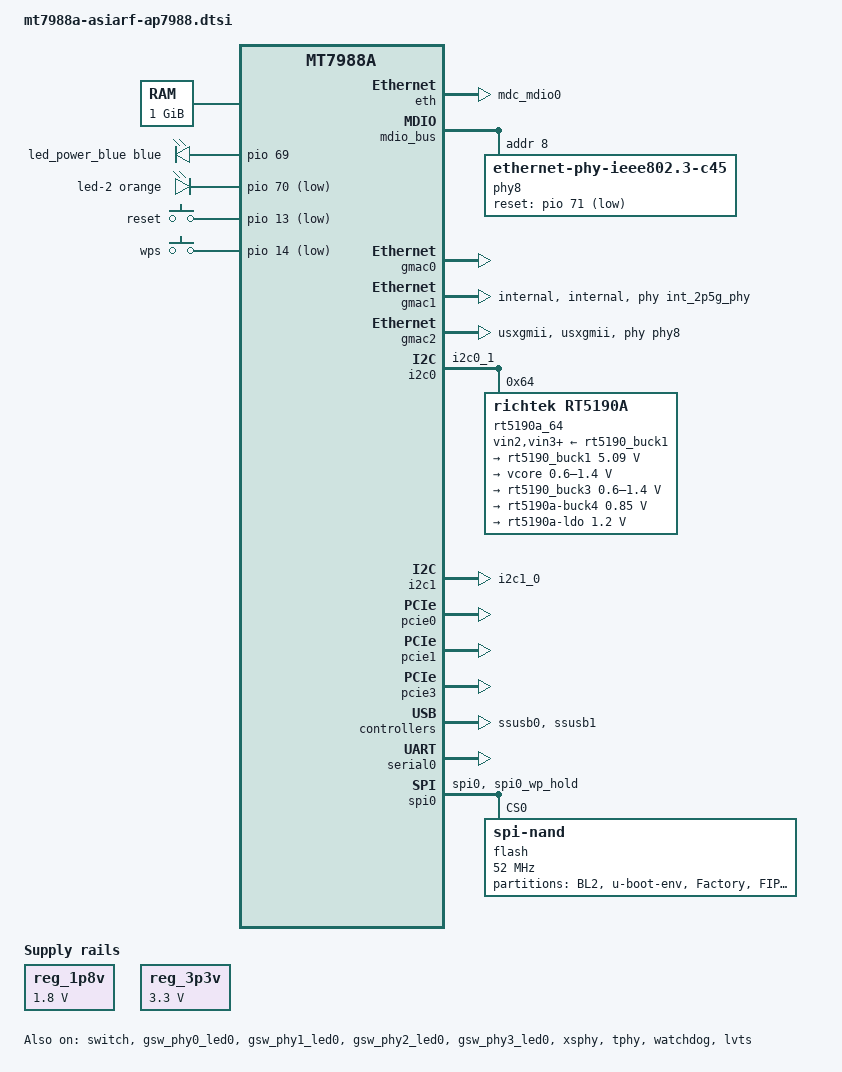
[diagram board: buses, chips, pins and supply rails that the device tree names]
// SPDX-License-Identifier: (GPL-2.0 OR MIT)
/*
 * Copyright (C) 2025 AsiaRF Co., Ltd.
 * Author: Elwin Huang <elwin@asiarf.com>
 */

/dts-v1/;
#include "mt7988a.dtsi"
#include <dt-bindings/pinctrl/mt65xx.h>
#include <dt-bindings/leds/common.h>
#include <dt-bindings/regulator/richtek,rt5190a-regulator.h>
#include <dt-bindings/input/input.h>
#include <dt-bindings/gpio/gpio.h>

/ {
	aliases {
		serial0 = &serial0;
		led-boot = &led_power_blue;
		led-failsafe = &led_power_blue;
		led-running = &led_power_blue;
		led-upgrade = &led_power_blue;
	};

	chosen {
		stdout-path = "serial0:115200n8";
		bootargs = "pci=pcie_bus_perf ubi.block=0,fit root=/dev/fit0 rootwait";
		rootdisk-spim-nand = <&ubi_rootfs>;
	};

	memory {
		reg = <0 0x40000000 0 0x40000000>;
	};

	reg_1p8v: regulator-1p8v {
		compatible = "regulator-fixed";
		regulator-name = "fixed-1.8V";
		regulator-min-microvolt = <1800000>;
		regulator-max-microvolt = <1800000>;
		regulator-boot-on;
		regulator-always-on;
	};

	reg_3p3v: regulator-3p3v {
		compatible = "regulator-fixed";
		regulator-name = "fixed-3.3V";
		regulator-min-microvolt = <3300000>;
		regulator-max-microvolt = <3300000>;
		regulator-boot-on;
		regulator-always-on;
	};

	gpio-leds {
		compatible = "gpio-leds";
		status = "okay";

		led_power_blue: led-1 {
			function = LED_FUNCTION_POWER;
			color = <LED_COLOR_ID_BLUE>;
			gpios = <&pio 69 GPIO_ACTIVE_HIGH>;
			linux,default-trigger = "default-on";
		};

		led-2 {
			function = LED_FUNCTION_STATUS;
			color = <LED_COLOR_ID_ORANGE>;
			gpios = <&pio 70 GPIO_ACTIVE_LOW>;
			linux,default-trigger = "default-on";
		};
	};

	keys {
		compatible = "gpio-keys";

		reset {
			label = "reset";
			linux,code = <KEY_RESTART>;
			gpios = <&pio 13 GPIO_ACTIVE_LOW>;
		};

		wps {
			label = "wps";
			linux,code = <KEY_WPS_BUTTON>;
			gpios = <&pio 14 GPIO_ACTIVE_LOW>;
		};
	};
};

&cpu0 {
	proc-supply = <&rt5190_buck3>;
};

&cpu1 {
	proc-supply = <&rt5190_buck3>;
};

&cpu2 {
	proc-supply = <&rt5190_buck3>;
};

&cpu3 {
	proc-supply = <&rt5190_buck3>;
};

&cci {
	proc-supply = <&rt5190_buck3>;
};

&eth {
	pinctrl-0 = <&mdio0_pins>;
	pinctrl-names = "default";
	status = "okay";
};

&mdio_bus {
	#address-cells = <1>;
	#size-cells = <0>;
	clock-frequency = <10500000>;

	/* Aquantia AQR113C */
	phy8: ethernet-phy@8 {
		reg = <8>;
		compatible = "ethernet-phy-ieee802.3-c45";
		reset-gpios = <&pio 71 GPIO_ACTIVE_LOW>;
		reset-assert-us = <100000>;
		reset-deassert-us = <221000>;
		nvmem-cell-names = "firmware";
		nvmem-cells = <&firmware_factory_200000>;
	};
};

&int_2p5g_phy {
	pinctrl-names = "i2p5gbe-led";
	pinctrl-0 = <&i2p5gbe_led0_pins>;
};

&gmac0 {
	status = "okay";
	nvmem-cell-names = "mac-address";
	nvmem-cells = <&macaddr_factory_ffff4>;
};

&gmac1 {
	phy-mode = "internal";
	phy-connection-type = "internal";
	phy-handle = <&int_2p5g_phy>;
	status = "okay";
	nvmem-cell-names = "mac-address";
	nvmem-cells = <&macaddr_factory_ffffa>;
};

&gmac2 {
	phy-mode = "usxgmii";
	phy-connection-type = "usxgmii";
	phy = <&phy8>;
	status = "okay";
	nvmem-cell-names = "mac-address";
	nvmem-cells = <&macaddr_factory_ffff4>;
};

&switch {
	status = "okay";

	ports {
		port@0 {
			label = "lan1";
		};

		port@1 {
			label = "lan2";
		};

		port@2 {
			label = "lan3";
		};

		port@3 {
			label = "lan4";
		};
	};
};

&gsw_phy0 {
	pinctrl-names = "gbe-led";
	pinctrl-0 = <&gbe0_led0_pins>;
};

&gsw_phy0_led0 {
	status = "okay";
	function = LED_FUNCTION_LAN;
	color = <LED_COLOR_ID_WHITE>;
};

&gsw_phy1 {
	pinctrl-names = "gbe-led";
	pinctrl-0 = <&gbe1_led0_pins>;
};

&gsw_phy1_led0 {
	status = "okay";
	function = LED_FUNCTION_LAN;
	color = <LED_COLOR_ID_WHITE>;
};

&gsw_phy2 {
	pinctrl-names = "gbe-led";
	pinctrl-0 = <&gbe2_led0_pins>;
};

&gsw_phy2_led0 {
	status = "okay";
	function = LED_FUNCTION_LAN;
	color = <LED_COLOR_ID_WHITE>;
};

&gsw_phy3 {
	pinctrl-names = "gbe-led";
	pinctrl-0 = <&gbe3_led0_pins>;
};

&gsw_phy3_led0 {
	status = "okay";
	function = LED_FUNCTION_LAN;
	color = <LED_COLOR_ID_WHITE>;
};

&i2c0 {
	pinctrl-names = "default";
	pinctrl-0 = <&i2c0_pins>;
	status = "okay";

	rt5190a_64: rt5190a@64 {
		compatible = "richtek,rt5190a";
		reg = <0x64>;
		/*interrupts-extended = <&gpio26 0 IRQ_TYPE_LEVEL_LOW>;*/
		vin2-supply = <&rt5190_buck1>;
		vin3-supply = <&rt5190_buck1>;
		vin4-supply = <&rt5190_buck1>;

		regulators {
			rt5190_buck1: buck1 {
				regulator-name = "rt5190a-buck1";
				regulator-min-microvolt = <5090000>;
				regulator-max-microvolt = <5090000>;
				regulator-allowed-modes =
				<RT5190A_OPMODE_AUTO RT5190A_OPMODE_FPWM>;
				regulator-boot-on;
				regulator-always-on;
			};
			buck2 {
				regulator-name = "vcore";
				regulator-min-microvolt = <600000>;
				regulator-max-microvolt = <1400000>;
				regulator-boot-on;
				regulator-always-on;
			};
			rt5190_buck3: buck3 {
				regulator-name = "vproc";
				regulator-min-microvolt = <600000>;
				regulator-max-microvolt = <1400000>;
				regulator-boot-on;
			};
			buck4 {
				regulator-name = "rt5190a-buck4";
				regulator-min-microvolt = <850000>;
				regulator-max-microvolt = <850000>;
				regulator-allowed-modes =
				<RT5190A_OPMODE_AUTO RT5190A_OPMODE_FPWM>;
				regulator-boot-on;
				regulator-always-on;
			};
			ldo {
				regulator-name = "rt5190a-ldo";
				regulator-min-microvolt = <1200000>;
				regulator-max-microvolt = <1200000>;
				regulator-boot-on;
				regulator-always-on;
			};
		};
	};
};

&i2c1 {
	pinctrl-names = "default";
	pinctrl-0 = <&i2c1_pins>;
	status = "okay";
};

&pcie0 {
	status = "okay";
};

&pcie1 {
	status = "okay";
};

&pcie3 {
	status = "okay";
};

&ssusb0 {
	status = "okay";
};

&ssusb1 {
	status = "okay";
};

&xsphy {
	status = "okay";
};

&tphy {
	status = "okay";
};

&serial0 {
	status = "okay";
};

&watchdog {
	status = "okay";
};

&lvts {
	status = "okay";
};

&spi0 {
	pinctrl-names = "default";
	pinctrl-0 = <&spi0_flash_pins>;
	status = "okay";

	flash@0 {
		compatible = "spi-nand";
		reg = <0>;
		spi-max-frequency = <52000000>;
		spi-tx-bus-width = <4>;
		spi-rx-bus-width = <4>;
		mediatek,nmbm;
		mediatek,bmt-max-ratio = <1>;
		mediatek,bmt-max-reserved-blocks = <64>;

		partitions {
			compatible = "fixed-partitions";
			#address-cells = <1>;
			#size-cells = <1>;

			partition@0 {
				label = "BL2";
				reg = <0x00000 0x0100000>;
				read-only;
			};

			partition@100000 {
				label = "u-boot-env";
				reg = <0x0100000 0x0080000>;
			};

			partition@180000 {
				label = "Factory";
				reg = <0x180000 0x0400000>;

				nvmem-layout {
					compatible = "fixed-layout";
					#address-cells = <1>;
					#size-cells = <1>;

					eeprom_factory_0: eeprom@0 {
						reg = <0x0 0x1e00>;
					};

					macaddr_factory_4: macaddr@4 {
						reg = <0x4 0x6>;
					};

					macaddr_factory_a: macaddr@a {
						reg = <0xa 0x6>;
					};

					macaddr_factory_2c0: macaddr@2c0 {
						reg = <0x2c0 0x6>;
					};

					macaddr_factory_ffff4: macaddr@ffff4 {
						reg = <0xffff4 0x6>;
					};

					macaddr_factory_ffffa: macaddr@ffffa {
						reg = <0xffffa 0x6>;
					};

					firmware_factory_200000: firmware@200000 {
						reg = <0x0200000 0x60002>;
					};
				};
			};

			partition@580000 {
				label = "FIP";
				reg = <0x580000 0x0200000>;
			};

			partition@780000 {
				label = "ubi";
				reg = <0x780000 0x7080000>;
				compatible = "linux,ubi";

				volumes {
					ubi_rootfs: ubi-volume-fit {
						volname = "fit";
					};
				};
			};
		};
	};
};

&pio {

	mdio0_pins: mdio0-pins {
		mux {
			function = "eth";
			groups = "mdc_mdio0";
		};

		conf {
			groups = "mdc_mdio0";
			drive-strength = <MTK_DRIVE_8mA>;
		};
	};

	gbe0_led0_pins: gbe0-led0-pins {
		mux {
			function = "led";
			groups = "gbe0_led0";
		};
	};

	gbe1_led0_pins: gbe1-led0-pins {
		mux {
			function = "led";
			groups = "gbe1_led0";
		};
	};

	gbe2_led0_pins: gbe2-led0-pins {
		mux {
			function = "led";
			groups = "gbe2_led0";
		};
	};

	gbe3_led0_pins: gbe3-led0-pins {
		mux {
			function = "led";
			groups = "gbe3_led0";
		};
	};

	i2c0_pins: i2c0-g0-pins {
		mux {
			function = "i2c";
			groups = "i2c0_1";
		};
	};

	i2c1_pins: i2c1-g0-pins {
		mux {
			function = "i2c";
			groups = "i2c1_0";
		};
	};

	i2c2_1_pins: i2c2-g1-pins {
		mux {
			function = "i2c";
			groups = "i2c2_1";
		};
	};

	i2p5gbe_led0_pins: 2p5gbe-led0-pins {
		mux {
			function = "led";
			groups = "2p5gbe_led0";
		};
	};

	mmc0_pins_sdcard: mmc0-sdcard-pins {
		mux {
			function = "flash";
			groups = "sdcard";
		};
	};

	spi0_flash_pins: spi0-flash-pins {
		mux {
			function = "spi";
			groups = "spi0", "spi0_wp_hold";
		};
	};
};
